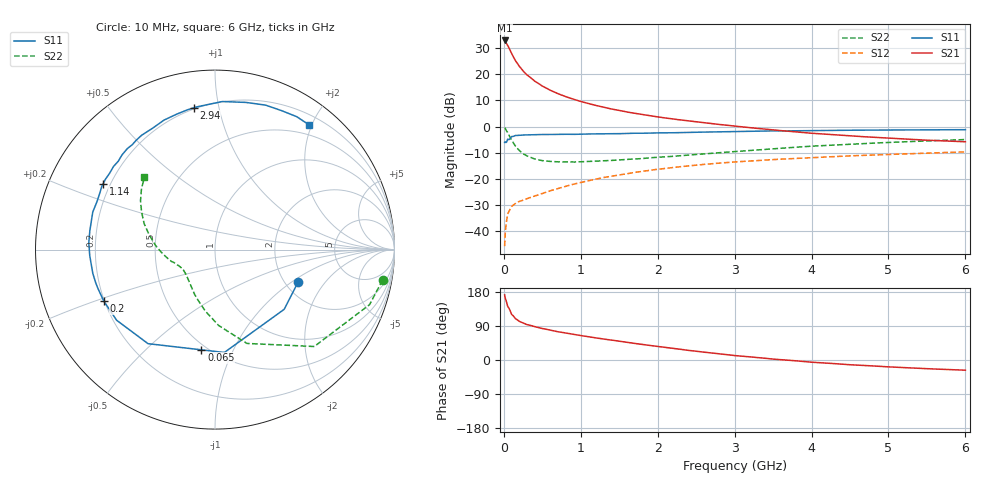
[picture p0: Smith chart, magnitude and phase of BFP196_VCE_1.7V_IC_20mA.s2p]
! Infineon Technologies  Discrete & RF Semiconductors
! BFP196
! VCE = 1.7 V,  IC =  20mA
! Common Emitter S-Parameters:  Jan 2016
# GHz  S  MA  R  50
!  f  S11  S21  S12  S22
! GHz  MAG  ANG  MAG  ANG  MAG  ANG  MAG  ANG
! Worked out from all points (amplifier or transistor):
!   210 points, 10 MHz to 6 GHz, reference 50 ohm
!   highest |S21| = 33.0 dB at 10 MHz (marker M1)
!   |S21| within 3 dB of that: start of sweep to 68.39 MHz
!   unconditionally stable (mu >= 1): 646.5 MHz to 3.498 GHz; 3.504 GHz to 4.241 GHz
!   at 185 MHz: K = 0.48, MSG = 26.4 dB, |S12| = -28.9 dB
!   at 1.52 GHz: K = 1.12, MAG = 10.2 dB, |S12| = -18.4 dB
!   at 6 GHz: K = 0.98, MSG = 1.9 dB, |S12| = -9.7 dB
!   S11 on the Smith chart (normalised r, x): 10 MHz: 2.34, -1.13; 65 MHz: 0.46, -0.76; 200 MHz: 0.20, -0.21; 1.14 GHz: 0.17, +0.26; 2.94 GHz: 0.19, +0.84; 6 GHz: 0.34, +1.97
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0.01  0.497 -21.5  44.7 171.8  0.0051 84.0  0.949 -10.3
0.02  0.5092 -40.8  42.88 162.4  0.01 74.9  0.9142 -19.6
0.05  0.5755 -84.8  36.14 141.8  0.021 58.6  0.7731 -44.3
0.065  0.5636 -97.7  32.45 137.0  0.0233 53.2  0.693 -50.5
0.1  0.6433 -125.4  25.14 120.7  0.0294 44.1  0.5523 -71.2
0.15  0.6747 -144.3  18.37 109.2  0.0338 40.1  0.4235 -87.2
0.2  0.6829 -155.3  14.36 102.1  0.0367 39.9  0.3488 -98.6
0.26  0.6898 -164.4  11.24 96.5  0.0392 40.7  0.2958 -108.9
0.3  0.6936 -169.0  9.782 93.5  0.0414 42.0  0.2748 -114.3
0.4  0.6986 -177.2  7.447 87.9  0.0467 45.0  0.2394 -124.9
0.5  0.7042 176.9  5.974 83.1  0.0519 47.2  0.2223 -132.4
0.6  0.7052 171.4  4.993 78.8  0.0586 49.7  0.215 -137.7
0.7  0.7077 166.5  4.296 74.7  0.0646 50.9  0.211 -141.7
1.02  0.7152 153.7  2.969 63.9  0.0859 52.6  0.2118 -150.6
1.14  0.7228 149.6  2.667 60.2  0.0946 52.7  0.2157 -153.0
1.6  0.7394 134.5  1.902 46.5  0.1257 49.7  0.2349 -160.5
2.02  0.7569 122.1  1.518 35.2  0.153 45.5  0.2585 -167.3
2.94  0.7987 98.5  1.041 13.2  0.2067 34.3  0.3266 177.0
3.1  0.8045 95.2  0.985 10.1  0.2143 32.1  0.3396 174.2
4.1  0.8398 76.6  0.728 -7.0  0.2579 20.3  0.4281 158.3
5.1  0.8599 63.2  0.589 -19.0  0.296 9.3  0.5032 145.3
6  0.8705 52.8  0.511 -26.9  0.3271 -0.9  0.5637 134.2
